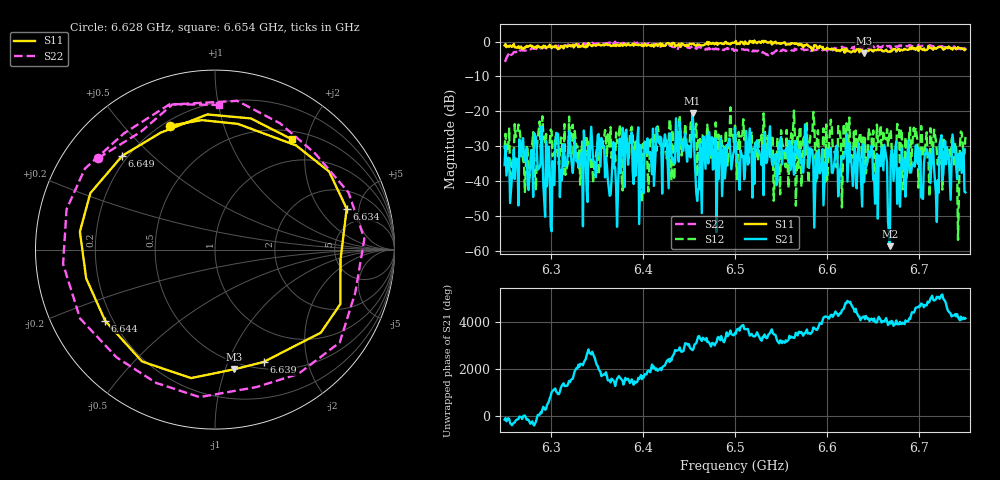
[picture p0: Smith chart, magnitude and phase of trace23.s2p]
# Hz S RI R 50
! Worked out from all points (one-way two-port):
!   401 points, 6.25 GHz to 6.75 GHz, reference 50 ohm
!   highest |S21| = -20.56 dB at 6.454 GHz (marker M1); lowest = -58.6 dB at 6.668 GHz (marker M2)
!   lowest |S11| = -3.4 dB at 6.64 GHz (marker M3), VSWR 5.16, Z = 21.8 - j53.6 ohm
!   |S11| at or under -10 dB: nowhere
!   |S22| runs from -5.8 to 0.0 dB; largest |S21 - S12| = 0.14
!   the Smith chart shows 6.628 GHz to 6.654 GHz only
!   S11 on the Smith chart (normalised r, x): 6.628 GHz: 0.22, +0.67; 6.634 GHz: 3.33, +3.71; 6.639 GHz: 0.58, -1.35; 6.644 GHz: 0.17, -0.29; 6.649 GHz: 0.18, +0.41; 6.654 GHz: 0.62, +1.74
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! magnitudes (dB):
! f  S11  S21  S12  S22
! 6.25 GHz  -1.1  -35.4  -30.8  -5.8
! 6.334 GHz  -1.4  -31.7  -28.6  -0.7
! 6.354 GHz  -1.1  -35.8  -31.8  -0.9
! 6.371 GHz  -1.3  -41.5  -26.0  -0.5
! 6.385 GHz  -0.9  -29.5  -33.8  -0.6
! 6.399 GHz  -0.9  -36.5  -45.9  -0.7
! 6.418 GHz  -0.7  -29.2  -26.9  -0.6
! 6.454 GHz  -0.7  -20.6  -22.4  -1.4
! 6.461 GHz  -0.9  -42.2  -28.4  -1.5
! 6.468 GHz  -0.8  -36.4  -31.0  -2.3
! 6.5 GHz  -0.3  -24.8  -24.1  -2.6
! 6.584 GHz  -2.5  -31.2  -26.3  -2.7
! 6.628 GHz  -2.7  -41.4  -33.2  -1.7
! 6.634 GHz  -2.3  -29.1  -28.1  -2.2
! 6.639 GHz  -3.3  -29.4  -26.8  -1.2
! 6.64 GHz  -3.4  -40.2  -35.5  -1.6
! 6.644 GHz  -2.7  -33.8  -33.5  -1.8
! 6.649 GHz  -2.7  -32.0  -32.5  -1.3
! 6.654 GHz  -2.5  -32.1  -23.8  -1.9
! 6.668 GHz  -2.9  -58.6  -25.7  -1.3
! 6.672 GHz  -2.2  -39.9  -34.2  -1.7
! 6.75 GHz  -2.2  -43.2  -27.3  -2.4
